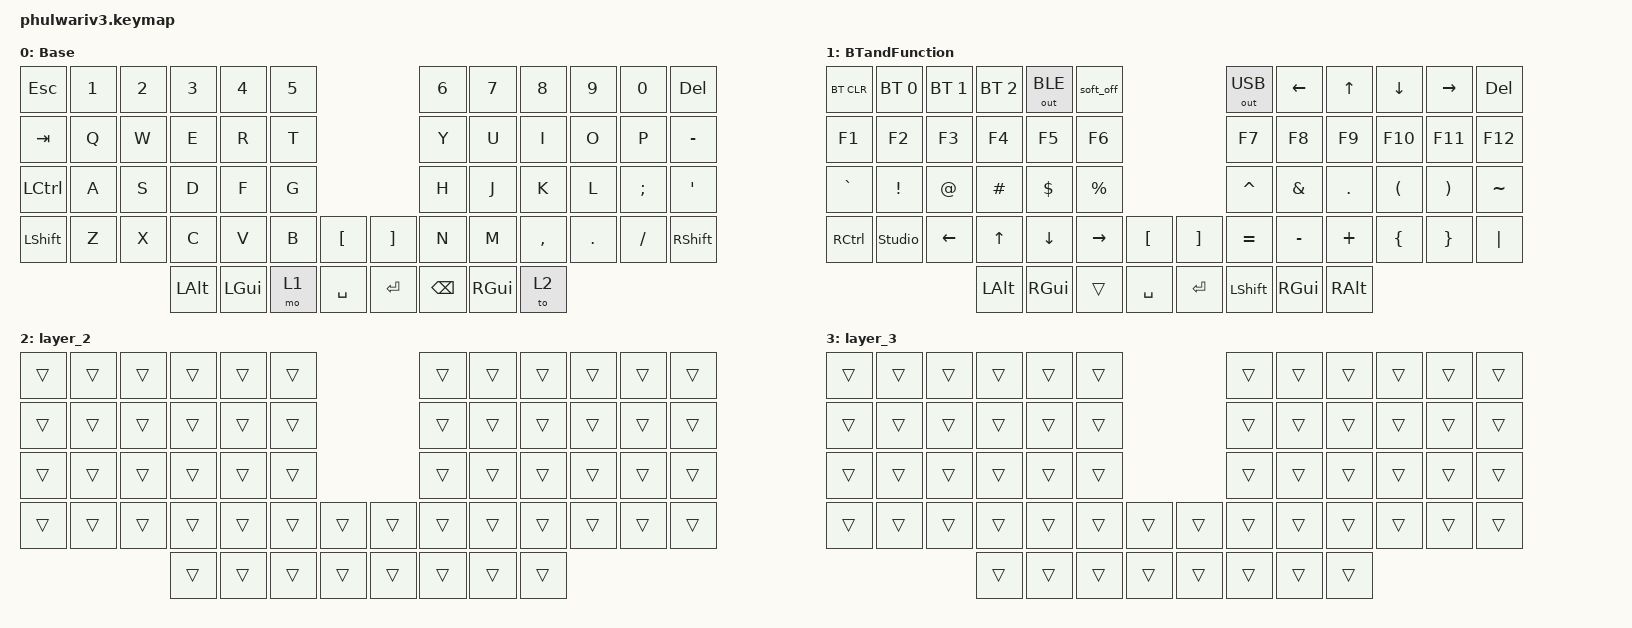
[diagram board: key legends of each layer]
#include <behaviors.dtsi>
#include <dt-bindings/zmk/bt.h>
#include <dt-bindings/zmk/keys.h>
#include <dt-bindings/zmk/outputs.h>

/ {
    keymap {
        compatible = "zmk,keymap";

        default_layer {
            display-name = "Base";
            bindings = <
&kp ESC    &kp N1  &kp N2  &kp N3    &kp N4    &kp N5                                       &kp N6         &kp N7         &kp N8     &kp N9   &kp N0    &kp DEL
&kp TAB    &kp Q   &kp W   &kp E     &kp R     &kp T                                        &kp Y          &kp U          &kp I      &kp O    &kp P     &kp MINUS
&kp LCTRL  &kp A   &kp S   &kp D     &kp F     &kp G                                        &kp H          &kp J          &kp K      &kp L    &kp SEMI  &kp APOS
&kp LSHFT  &kp Z   &kp X   &kp C     &kp V     &kp B   &kp LEFT_BRACKET  &kp RIGHT_BRACKET  &kp N          &kp M          &kp COMMA  &kp DOT  &kp FSLH  &kp RSHFT
                           &kp LALT  &kp LGUI  &mo 1   &kp SPACE         &kp ENTER          &kp BACKSPACE  &kp RIGHT_GUI  &to 2
            >;
        };

        BTandFunction {
            bindings = <
&bt BT_CLR  &bt BT_SEL 0    &bt BT_SEL 1  &bt BT_SEL 2  &out OUT_BLE  &soft_off                        &out OUT_USB    &kp LEFT_ARROW  &kp UP_ARROW  &kp DOWN_ARROW        &kp RIGHT_ARROW        &kp DEL
&kp F1      &kp F2          &kp F3        &kp F4        &kp F5        &kp F6                           &kp F7          &kp F8          &kp F9        &kp F10               &kp F11                &kp F12
&kp GRAVE   &kp EXCL        &kp AT        &kp HASH      &kp DOLLAR    &kp PRCNT                        &kp CARET       &kp AMPS        &kp PERIOD    &kp LEFT_PARENTHESIS  &kp RIGHT_PARENTHESIS  &kp TILDE
&kp RCTRL   &studio_unlock  &kp LEFT      &kp UP        &kp DOWN      &kp RIGHT  &kp LBKT   &kp RBKT   &kp EQUAL       &kp MINUS       &kp PLUS      &kp LEFT_BRACE        &kp RIGHT_BRACE        &kp PIPE
                                          &kp LALT      &kp RGUI      &trans     &kp SPACE  &kp ENTER  &kp LEFT_SHIFT  &kp RGUI        &kp RALT
            >;
        };

        layer_2 {
            bindings = <
&trans  &trans  &trans  &trans  &trans  &trans                  &trans  &trans  &trans  &trans  &trans  &trans
&trans  &trans  &trans  &trans  &trans  &trans                  &trans  &trans  &trans  &trans  &trans  &trans
&trans  &trans  &trans  &trans  &trans  &trans                  &trans  &trans  &trans  &trans  &trans  &trans
&trans  &trans  &trans  &trans  &trans  &trans  &trans  &trans  &trans  &trans  &trans  &trans  &trans  &trans
                        &trans  &trans  &trans  &trans  &trans  &trans  &trans  &trans
            >;
        };

        layer_3 {
            bindings = <
&trans  &trans  &trans  &trans  &trans  &trans                  &trans  &trans  &trans  &trans  &trans  &trans
&trans  &trans  &trans  &trans  &trans  &trans                  &trans  &trans  &trans  &trans  &trans  &trans
&trans  &trans  &trans  &trans  &trans  &trans                  &trans  &trans  &trans  &trans  &trans  &trans
&trans  &trans  &trans  &trans  &trans  &trans  &trans  &trans  &trans  &trans  &trans  &trans  &trans  &trans
                        &trans  &trans  &trans  &trans  &trans  &trans  &trans  &trans
            >;
        };
    };
};
